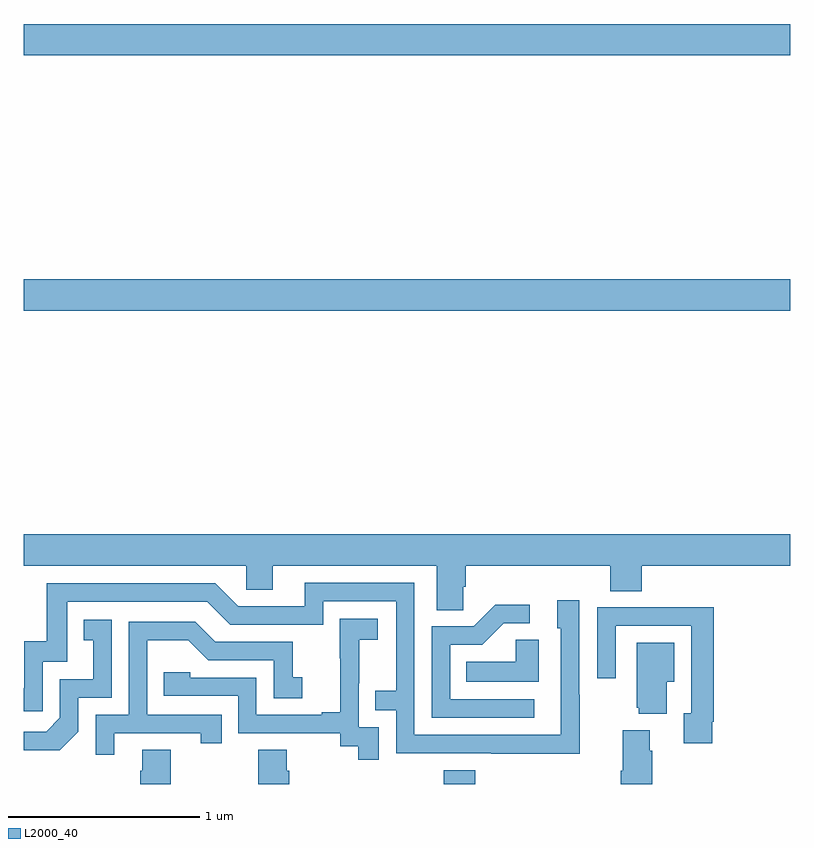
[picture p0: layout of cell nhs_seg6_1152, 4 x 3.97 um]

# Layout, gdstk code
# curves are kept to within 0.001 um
import gdstk
lib = gdstk.Library(unit=1e-6, precision=1e-09)
def R(c, l, rs):  # rectangles x0, y0, x1, y1
    for r in rs: c.add(gdstk.rectangle(r[:2], r[2:], *l))
def P(c, l, *ps):  # polygons
    for p in ps: c.add(gdstk.Polygon(p, *l))
L2000_40 = (2000, 40)

nhs_seg6_1152 = lib.new_cell('nhs_seg6_1152')
R(nhs_seg6_1152, L2000_40, [(183.191,975.5,183.356,975.571), (181,977.972,185,978.136), (181,979.304,185,979.468)])
P(nhs_seg6_1152, L2000_40, [(183.294,976.531),(183.308,976.531),(183.308,976.64),(184.061,976.64),(184.061,976.507),(184.226,976.507),(184.226,976.64),(185,976.64),(185,976.804),(181,976.804),(181,976.64),(182.16,976.64),(182.16,976.513),(182.299,976.513),(182.299,976.64),(183.155,976.64),(183.155,976.408),(183.294,976.408)],
  [(183.903,975.965),(183.9,975.965),(183.9,976.459),(183.785,976.459),(183.785,976.314),(183.804,976.314),(183.804,975.756),(183.039,975.756),(183.039,976.551),(182.465,976.551),(182.465,976.428),(182.118,976.428),(181.998,976.548),(181.119,976.548),(181.119,976.246),(181.001,976.246),(181,975.879),(181.098,975.879),(181.098,976.137),(181.227,976.137),(181.227,976.452),(181.956,976.452),(182.076,976.332),(182.562,976.332),(182.562,976.455),(182.943,976.455),(182.943,975.986),(182.833,975.986),(182.833,975.885),(182.943,975.885),(182.943,975.66),(183.903,975.659)],
  [(183.664,975.942),(183.225,975.942),(183.225,976.227),(183.394,976.227),(183.505,976.338),(183.64,976.338),(183.64,976.436),(183.461,976.436),(183.348,976.323),(183.129,976.323),(183.129,975.846),(183.664,975.846)],
  [(184.594,975.826),(184.601,975.826),(184.601,976.424),(184.309,976.424),(184.309,976.422),(183.993,976.422),(183.993,976.053),(184.089,976.053),(184.089,976.326),(184.485,976.326),(184.485,975.87),(184.445,975.87),(184.445,975.714),(184.594,975.714)],
  [(182.853,975.795),(182.748,975.795),(182.748,976.025),(182.75,976.025),(182.75,976.253),(182.848,976.253),(182.848,976.363),(182.65,976.363),(182.65,976.157),(182.651,976.157),(182.651,975.874),(182.555,975.874),(182.555,975.861),(182.214,975.861),(182.214,976.056),(181.869,976.056),(181.869,976.083),(181.729,976.083),(181.729,975.96),(182.118,975.96),(182.118,975.765),(182.652,975.765),(182.652,975.697),(182.745,975.697),(182.745,975.627),(182.853,975.627)],
  [(181.284,975.774),(181.284,975.951),(181.458,975.951),(181.458,976.357),(181.312,976.357),(181.312,976.251),(181.361,976.251),(181.361,976.047),(181.188,976.047),(181.188,975.846),(181.116,975.774),(181,975.774),(181,975.677),(181.186,975.677)],
  [(181.471,975.765),(181.922,975.765),(181.922,975.714),(182.033,975.714),(182.033,975.861),(181.644,975.861),(181.644,976.25),(181.858,976.25),(181.962,976.146),(182.304,976.146),(182.304,975.948),(182.452,975.948),(182.452,976.057),(182.403,976.057),(182.403,976.242),(181.999,976.242),(181.894,976.347),(181.548,976.347),(181.548,975.861),(181.374,975.861),(181.374,975.654),(181.471,975.654)],
  [(183.688,976.253),(183.567,976.253),(183.567,976.138),(183.31,976.138),(183.31,976.034),(183.688,976.034)],
  [(184.357,976.034),(184.396,976.034),(184.396,976.237),(184.199,976.237),(184.199,975.897),(184.211,975.897),(184.211,975.866),(184.357,975.866)],
  [(184.28,975.674),(184.267,975.674),(184.267,975.781),(184.127,975.781),(184.127,975.568),(184.115,975.568),(184.115,975.5),(184.28,975.5)],
  [(182.384,975.57),(182.371,975.57),(182.371,975.68),(182.224,975.68),(182.224,975.5),(182.384,975.5)],
  [(181.767,975.68),(181.619,975.68),(181.619,975.57),(181.607,975.57),(181.607,975.5),(181.767,975.5)])

lib.write_gds('nhs_seg6_1152.gds')
